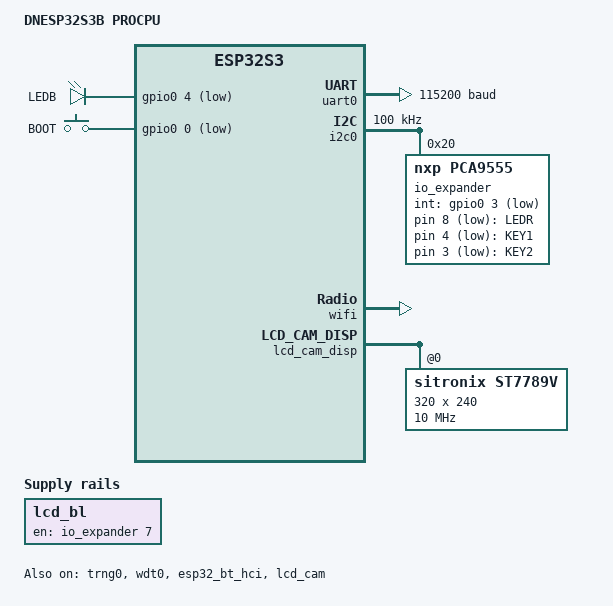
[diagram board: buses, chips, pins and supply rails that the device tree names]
/*
 * Copyright (c) 2025 Chen Xingyu <hi@xingrz.me>
 * SPDX-License-Identifier: Apache-2.0
 */
/dts-v1/;

#include <espressif/esp32s3/esp32s3_wroom_n16r8.dtsi>
#include <espressif/partitions_0x0_amp_16M.dtsi>
#include <zephyr/dt-bindings/input/input-event-codes.h>
#include "dnesp32s3b-pinctrl.dtsi"

/ {
	model = "DNESP32S3B PROCPU";
	compatible = "alientek,dnesp32s3b";

	aliases {
		led0 = &ledb;
		led1 = &ledr;
		sw0 = &b0;
		sw1 = &k1;
		sw2 = &k2;
		watchdog0 = &wdt0;
	};

	chosen {
		zephyr,sram = &sram1;
		zephyr,console = &uart0;
		zephyr,shell-uart = &uart0;
		zephyr,flash = &flash0;
		zephyr,code-partition = &slot0_partition;
		zephyr,bt-hci = &esp32_bt_hci;
		zephyr,display = &st7789v;
	};

	leds {
		compatible = "gpio-leds";

		ledb: led_blue {
			gpios = <&gpio0 4 GPIO_ACTIVE_LOW>;
			label = "LEDB";
		};

		ledr: led_red {
			gpios = <&io_expander 8 GPIO_ACTIVE_LOW>;
			label = "LEDR";
		};
	};

	buttons {
		compatible = "gpio-keys";

		b0: button_b0 {
			gpios = <&gpio0 0 (GPIO_PULL_UP | GPIO_ACTIVE_LOW)>;
			label = "BOOT";
			zephyr,code = <INPUT_KEY_0>;
		};

		k1: button_k1 {
			gpios = <&io_expander 4 GPIO_ACTIVE_LOW>;
			label = "KEY1";
			zephyr,code = <INPUT_KEY_1>;
		};

		k2: button_k2 {
			gpios = <&io_expander 3 GPIO_ACTIVE_LOW>;
			label = "KEY2";
			zephyr,code = <INPUT_KEY_2>;
		};
	};

	lcd_bl: LCD_BL {
		compatible = "regulator-fixed";
		regulator-name = "LCD_BL";
		regulator-boot-on;
		enable-gpios = <&io_expander 7 GPIO_ACTIVE_HIGH>;
	};
};

&usb_serial {
	status = "disabled";
};

&uart0 {
	status = "okay";
	pinctrl-0 = <&uart0_default>;
	pinctrl-names = "default";

	current-speed = <115200>;
};

&gpio0 {
	status = "okay";
};

&gpio1 {
	status = "okay";
};

&i2c0 {
	status = "okay";
	pinctrl-0 = <&i2c0_default>;
	pinctrl-names = "default";

	clock-frequency = <I2C_BITRATE_STANDARD>;

	io_expander: xl9555@20 {
		compatible = "nxp,pca9555";
		reg = <0x20>;
		gpio-controller;
		#gpio-cells = <2>;
		ngpios = <16>;
		int-gpios = <&gpio0 3 (GPIO_PULL_UP | GPIO_ACTIVE_LOW)>;
	};
};

&trng0 {
	status = "okay";
};

&wdt0 {
	status = "okay";
};

&wifi {
	status = "okay";
};

&esp32_bt_hci {
	status = "okay";
};

&dma {
	status = "okay";
};

&lcd_cam {
	status = "okay";
	pinctrl-0 = <&lcd_cam_default>;
	pinctrl-names = "default";
};

&lcd_cam_disp {
	status = "okay";
	cs-gpios = <&gpio0 1 GPIO_ACTIVE_LOW>;

	st7789v: st7789v@0 {
		compatible = "sitronix,st7789v";
		reg = <0>;
		mipi-max-frequency = <DT_FREQ_M(10)>;
		mipi-mode = "MIPI_DBI_MODE_8080_BUS_8_BIT";
		width = <320>;
		height = <240>;
		x-offset = <0>;
		y-offset = <0>;
		vcom = <0x20>;
		gctrl = <0x35>;
		mdac = <0x60>; /* RGB order, swap XY, mirror X */
		lcm = <0x2c>;
		colmod = <0x55>; /* RGB565 16bit */
		gamma = <0x01>;
		porch-param = [0c 0c 00 33 33];
		cmd2en-param = [5a 69 02 01];
		pwctrl1-param = [a4 a1];
		pvgam-param = [d0 00 02 07 0a 28 32 44 42 06 0e 12 14 17];
		nvgam-param = [d0 00 02 07 0a 28 31 54 47 0e 1c 17 1b 1e];
		ram-param = [00 f0];
		rgb-param = [40 02 14];
	};
};
